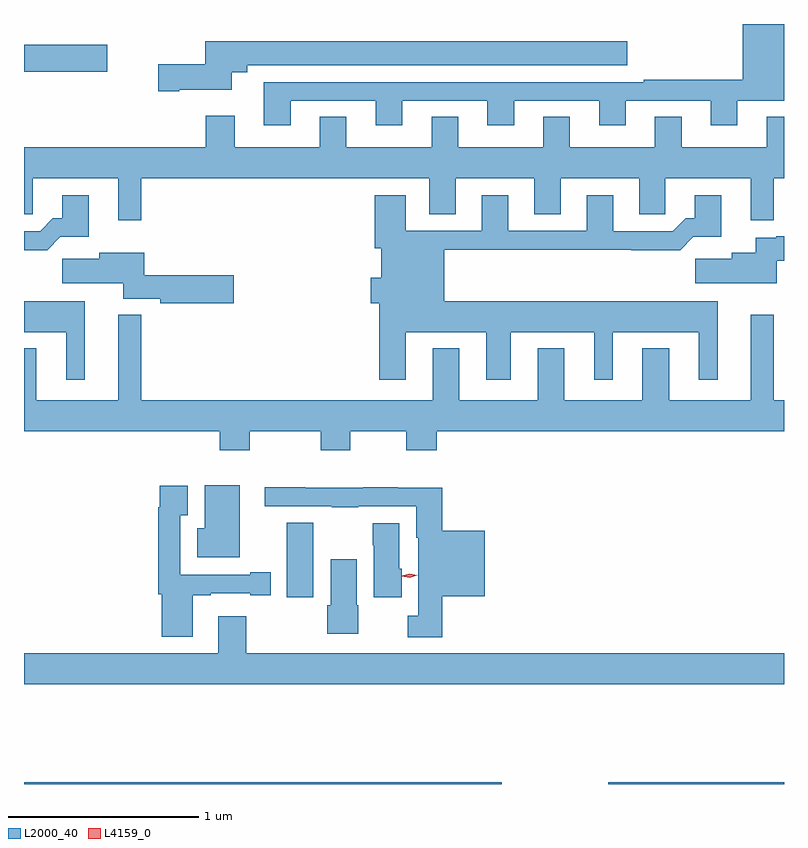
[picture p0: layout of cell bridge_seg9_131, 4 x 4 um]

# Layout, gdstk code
import gdstk
lib = gdstk.Library(unit=1e-6, precision=1e-09)
def R(c, l, rs):  # rectangles x0, y0, x1, y1
    for r in rs: c.add(gdstk.rectangle(r[:2], r[2:], *l))
def P(c, l, *ps):  # polygons
    for p in ps: c.add(gdstk.Polygon(p, *l))
L2000_40 = (2000, 40)
L4159_0 = (4159, 0)

bridge_seg9_131 = lib.new_cell('bridge_seg9_131')
R(bridge_seg9_131, L2000_40, [(455.006,1199.892,457.52,1199.9), (458.081,1199.892,459.006,1199.9), (456.389,1200.876,456.529,1201.268), (455.006,1203.64,455.443,1203.782)])
P(bridge_seg9_131, L2000_40, [(456.409,1203.489),(456.857,1203.489),(456.857,1203.36),(456.997,1203.36),(456.997,1203.489),(457.445,1203.489),(457.445,1203.36),(457.585,1203.36),(457.585,1203.489),(458.033,1203.489),(458.033,1203.36),(458.173,1203.36),(458.173,1203.489),(458.621,1203.489),(458.621,1203.36),(458.761,1203.36),(458.761,1203.488),(459.006,1203.488),(459.006,1203.892),(456.263,1203.892),(456.263,1203.89),(458.789,1203.89),(458.789,1203.598),(458.269,1203.598),(458.269,1203.585),(456.269,1203.585),(456.269,1203.36),(456.409,1203.36)],
  [(455.824,1203.545),(456.1,1203.545),(456.1,1203.638),(456.181,1203.638),(456.181,1203.674),(458.182,1203.674),(458.182,1203.802),(455.96,1203.802),(455.96,1203.68),(455.712,1203.68),(455.712,1203.538),(455.824,1203.538)],
  [(455.623,1203.08),(457.139,1203.08),(457.139,1202.89),(457.279,1202.89),(457.279,1203.08),(457.691,1203.08),(457.691,1202.89),(457.831,1202.89),(457.831,1203.08),(458.243,1203.08),(458.243,1202.89),(458.382,1202.89),(458.382,1203.08),(458.831,1203.08),(458.831,1202.859),(458.953,1202.859),(458.953,1203.08),(459.006,1203.08),(459.006,1203.403),(458.915,1203.403),(458.915,1203.244),(458.467,1203.244),(458.467,1203.404),(458.327,1203.404),(458.327,1203.244),(457.879,1203.244),(457.879,1203.404),(457.739,1203.404),(457.739,1203.244),(457.291,1203.244),(457.291,1203.404),(457.151,1203.404),(457.151,1203.244),(456.703,1203.244),(456.703,1203.404),(456.563,1203.404),(456.563,1203.244),(456.115,1203.244),(456.115,1203.409),(455.963,1203.409),(455.963,1203.244),(455.006,1203.244),(455.006,1202.89),(455.052,1202.89),(455.052,1203.08),(455.501,1203.08),(455.501,1202.859),(455.623,1202.859)],
  [(457.015,1202.27),(457.439,1202.27),(457.439,1202.019),(457.567,1202.019),(457.567,1202.27),(458.006,1202.27),(458.006,1202.019),(458.104,1202.019),(458.104,1202.27),(458.558,1202.27),(458.558,1202.019),(458.656,1202.019),(458.656,1202.434),(457.219,1202.434),(457.219,1202.704),(458.203,1202.704),(458.203,1202.702),(458.459,1202.702),(458.528,1202.771),(458.677,1202.771),(458.677,1202.992),(458.537,1202.992),(458.537,1202.869),(458.488,1202.869),(458.421,1202.802),(458.107,1202.802),(458.107,1202.992),(457.967,1202.992),(457.967,1202.805),(457.555,1202.805),(457.555,1202.992),(457.415,1202.992),(457.415,1202.805),(457.015,1202.805),(457.015,1202.992),(456.851,1202.992),(456.851,1202.712),(456.887,1202.712),(456.887,1202.557),(456.83,1202.557),(456.83,1202.423),(456.875,1202.423),(456.875,1202.019),(457.015,1202.019)],
  [(455.198,1202.771),(455.347,1202.771),(455.347,1202.992),(455.207,1202.992),(455.207,1202.869),(455.158,1202.869),(455.091,1202.802),(455.006,1202.802),(455.006,1202.702),(455.129,1202.702)],
  [(458.968,1202.645),(459.006,1202.645),(459.006,1202.775),(458.964,1202.775),(458.964,1202.767),(458.858,1202.767),(458.858,1202.689),(458.732,1202.689),(458.732,1202.657),(458.538,1202.657),(458.538,1202.528),(458.968,1202.528)],
  [(456.109,1202.57),(455.638,1202.57),(455.638,1202.689),(455.402,1202.689),(455.402,1202.657),(455.208,1202.657),(455.208,1202.528),(455.528,1202.528),(455.528,1202.447),(455.724,1202.447),(455.724,1202.423),(456.109,1202.423)],
  [(455.326,1202.434),(455.006,1202.434),(455.006,1202.27),(455.228,1202.27),(455.228,1202.019),(455.326,1202.019)],
  [(456.195,1201.748),(456.568,1201.748),(456.568,1201.649),(456.723,1201.649),(456.723,1201.748),(457.018,1201.748),(457.018,1201.649),(457.178,1201.649),(457.178,1201.748),(459.006,1201.748),(459.006,1201.912),(458.953,1201.912),(458.953,1202.362),(458.831,1202.362),(458.831,1201.912),(458.401,1201.912),(458.401,1202.185),(458.261,1202.185),(458.261,1201.912),(457.849,1201.912),(457.849,1202.185),(457.709,1202.185),(457.709,1201.912),(457.297,1201.912),(457.297,1202.185),(457.157,1202.185),(457.157,1201.912),(455.623,1201.912),(455.623,1202.362),(455.501,1202.362),(455.501,1201.912),(455.071,1201.912),(455.071,1202.185),(455.006,1202.185),(455.006,1201.748),(456.035,1201.748),(456.035,1201.649),(456.195,1201.649)],
  [(456.142,1201.465),(455.957,1201.465),(455.957,1201.238),(455.918,1201.238),(455.918,1201.085),(456.142,1201.085)],
  [(455.893,1200.885),(455.989,1200.885),(455.989,1200.897),(456.197,1200.897),(456.197,1200.885),(456.304,1200.885),(456.304,1201.006),(456.197,1201.006),(456.197,1200.993),(455.829,1200.993),(455.829,1201.306),(455.869,1201.306),(455.869,1201.462),(455.721,1201.462),(455.721,1201.349),(455.713,1201.349),(455.713,1200.89),(455.732,1200.89),(455.732,1200.666),(455.893,1200.666)],
  [(457.208,1200.881),(457.432,1200.881),(457.432,1201.225),(457.208,1201.225),(457.208,1201.451),(456.974,1201.451),(456.974,1201.454),(456.791,1201.454),(456.791,1201.451),(456.485,1201.451),(456.485,1201.454),(456.273,1201.454),(456.273,1201.353),(456.625,1201.353),(456.625,1201.348),(456.764,1201.348),(456.764,1201.353),(457.07,1201.353),(457.07,1201.188),(457.082,1201.188),(457.082,1200.778),(457.026,1200.778),(457.026,1200.665),(457.208,1200.665)],
  [(456.994,1201.026),(456.982,1201.026),(456.982,1201.264),(456.841,1201.264),(456.841,1201.148),(456.848,1201.148),(456.848,1200.876),(456.994,1200.876)],
  [(456.766,1200.834),(456.757,1200.834),(456.757,1201.075),(456.62,1201.075),(456.62,1200.834),(456.601,1200.834),(456.601,1200.683),(456.766,1200.683)],
  [(459.006,1200.58),(456.177,1200.58),(456.177,1200.775),(456.029,1200.775),(456.029,1200.58),(455.006,1200.58),(455.006,1200.416),(459.006,1200.416)])
P(bridge_seg9_131, L4159_0, [(457.036,1200.978),(456.995,1200.986),(456.995,1200.987),(456.995,1200.987),(457.035,1200.998),(457.076,1200.99),(457.076,1200.99),(457.076,1200.99)])

lib.write_gds('bridge_seg9_131.gds')
